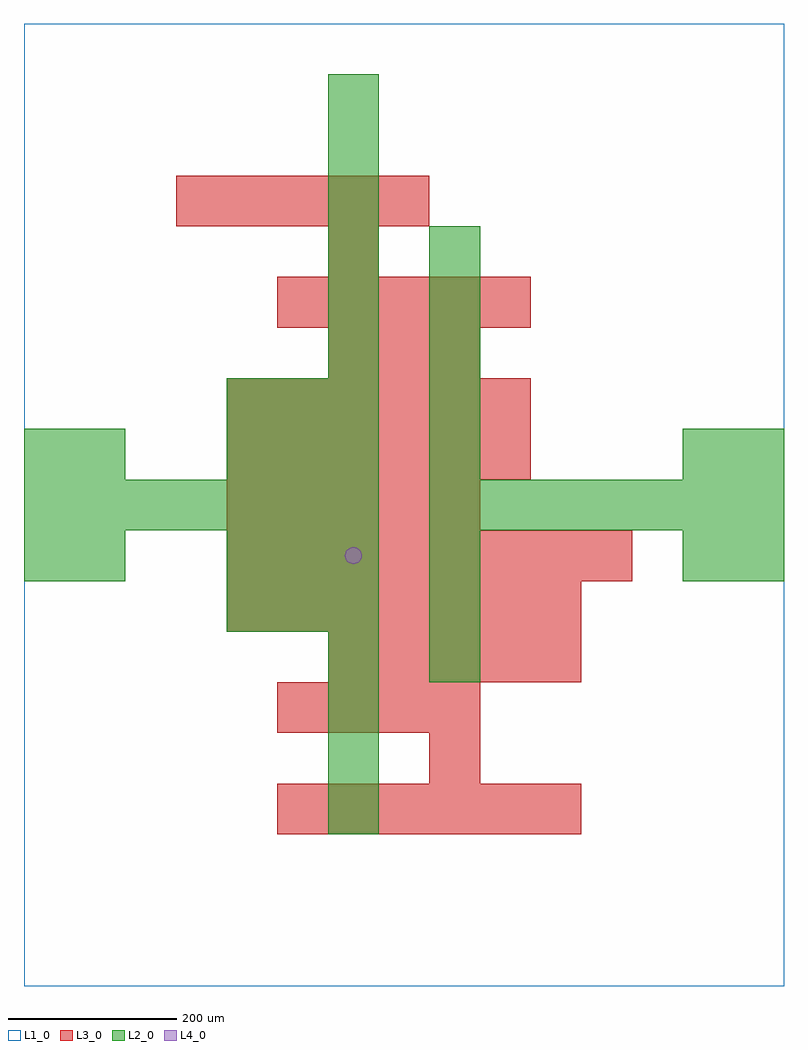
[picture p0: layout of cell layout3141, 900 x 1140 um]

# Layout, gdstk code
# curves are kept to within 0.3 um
import gdstk
lib = gdstk.Library(unit=1e-6, precision=1e-09)
def R(c, l, rs):  # rectangles x0, y0, x1, y1
    for r in rs: c.add(gdstk.rectangle(r[:2], r[2:], *l))
def A(c, l, x, y, w, h, nx, ny, dx, dy):  # array of equal rectangles
    R(c, l, [(x+i*dx, y+j*dy, x+i*dx+w, y+j*dy+h) for i in range(nx) for j in range(ny)])
def P(c, l, *ps):  # polygons
    for p in ps: c.add(gdstk.Polygon(p, *l))
L1_0 = (1, 0)
L2_0 = (2, 0)
L3_0 = (3, 0)
L4_0 = (4, 0)

layout3141 = lib.new_cell('layout3141')
R(layout3141, L1_0, [(0,0,900,1140)])
A(layout3141, L2_0, 360, 180, 60, 60, 1, 4, 0, 60)
A(layout3141, L2_0, 480, 360, 60, 60, 1, 3, 0, 60)
A(layout3141, L2_0, 240, 420, 60, 60, 3, 2, 60, 60)
A(layout3141, L2_0, 0, 540, 60, 60, 7, 1, 60, 0)
A(layout3141, L2_0, 480, 540, 60, 60, 7, 1, 60, 0)
A(layout3141, L2_0, 240, 600, 60, 60, 3, 2, 60, 60)
A(layout3141, L2_0, 480, 600, 60, 60, 1, 5, 0, 60)
A(layout3141, L2_0, 360, 720, 60, 60, 1, 6, 0, 60)
R(layout3141, L2_0, [(0,480,60,540), (60,480,120,540), (780,480,840,540), (840,480,900,540), (0,600,60,660), (60,600,120,660), (780,600,840,660), (840,600,900,660)])
A(layout3141, L3_0, 300, 180, 60, 60, 6, 1, 60, 0)
A(layout3141, L3_0, 300, 300, 60, 60, 4, 1, 60, 0)
A(layout3141, L3_0, 360, 360, 60, 60, 5, 1, 60, 0)
A(layout3141, L3_0, 240, 420, 60, 60, 7, 1, 60, 0)
A(layout3141, L3_0, 240, 480, 60, 60, 8, 1, 60, 0)
A(layout3141, L3_0, 240, 540, 60, 60, 5, 1, 60, 0)
A(layout3141, L3_0, 240, 600, 60, 60, 6, 2, 60, 60)
A(layout3141, L3_0, 360, 720, 60, 60, 3, 1, 60, 0)
A(layout3141, L3_0, 300, 780, 60, 60, 5, 1, 60, 0)
A(layout3141, L3_0, 180, 900, 60, 60, 5, 1, 60, 0)
R(layout3141, L3_0, [(480,240,540,300), (360,840,420,900)])
P(layout3141, L4_0, [(400,510),(399.239,513.827),(397.071,517.071),(393.827,519.239),(390,520),(386.173,519.239),(382.929,517.071),(380.761,513.827),(380,510),(380.761,506.173),(382.929,502.929),(386.173,500.761),(390,500),(393.827,500.761),(397.071,502.929),(399.239,506.173)])

lib.write_gds('layout3141.gds')
